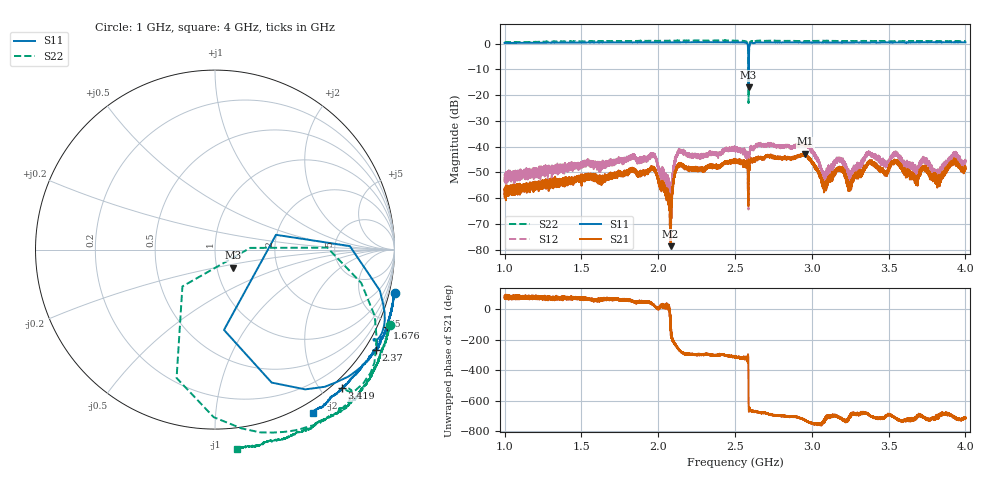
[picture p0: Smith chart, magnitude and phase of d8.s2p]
!Agilent Technologies,N5230C,SG49000117,A.08.50.07
!Agilent N5230C: A.08.50.07
!Date: Monday, May 20, 2024 20:14:01
!Correction: S11(Full 2 Port(1,2))
!S21(Full 2 Port(1,2))
!S12(Full 2 Port(1,2))
!S22(Full 2 Port(1,2))
!S2P File: Measurements: S11, S21, S12, S22:
# Hz S  MA  R 50
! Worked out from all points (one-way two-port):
!   20001 points, 1 GHz to 4 GHz, reference 50 ohm
!   highest |S21| = -42.80 dB at 2.957 GHz (marker M1); lowest = -78.7 dB at 2.081 GHz (marker M2)
!   lowest |S11| = -17.0 dB at 2.588 GHz (marker M3), VSWR 1.33, Z = 59.5 - j12.3 ohm
!   |S11| at or under -10 dB: 2.587719 GHz to 2.589144 GHz (1.425 MHz wide, 0.055 % of centre)
!   |S22| runs from -23.1 to 1.2 dB; largest |S21 - S12| = 0.007
!   S11 on the Smith chart (normalised r, x): 1 GHz: -1.02, -8.29; 1.676 GHz: -0.55, -4.57; 2.37 GHz: -0.37, -3.46; 3.419 GHz: -0.14, -2.27; 4 GHz: -0.12, -1.75
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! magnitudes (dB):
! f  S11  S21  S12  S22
! 1 GHz  0.2  -58.5  -51.9  0.5
! 1.5 GHz  0.4  -52.5  -47.5  0.8
! 1.676 GHz  0.4  -52.9  -46.6  0.9
! 1.966 GHz  0.4  -47.8  -42.8  1.0
! 2 GHz  0.4  -51.6  -47.9  1.0
! 2.081 GHz  0.4  -78.7  -71.9  1.1
! 2.135 GHz  0.5  -47.3  -41.4  1.1
! 2.37 GHz  0.5  -48.1  -43.8  1.1
! 2.5 GHz  0.5  -45.2  -40.9  1.1
! 2.588 GHz  -17.0  -47.8  -47.0  -22.2
! 2.957 GHz  0.4  -42.8  -39.0  1.0
! 3 GHz  0.4  -45.8  -41.7  1.0
! 3.083 GHz  0.4  -55.5  -52.8  1.1
! 3.173 GHz  0.4  -49.3  -45.7  1.0
! 3.246 GHz  0.4  -56.5  -52.0  1.0
! 3.419 GHz  0.4  -47.3  -44.2  1.0
! 3.5 GHz  0.4  -48.8  -47.1  0.9
! 3.68 GHz  0.4  -53.6  -49.4  1.0
! 3.735 GHz  0.5  -48.0  -45.1  1.0
! 3.819 GHz  0.5  -53.0  -49.7  0.9
! 3.928 GHz  0.5  -46.1  -43.4  1.0
! 4 GHz  0.5  -48.5  -46.5  1.0
